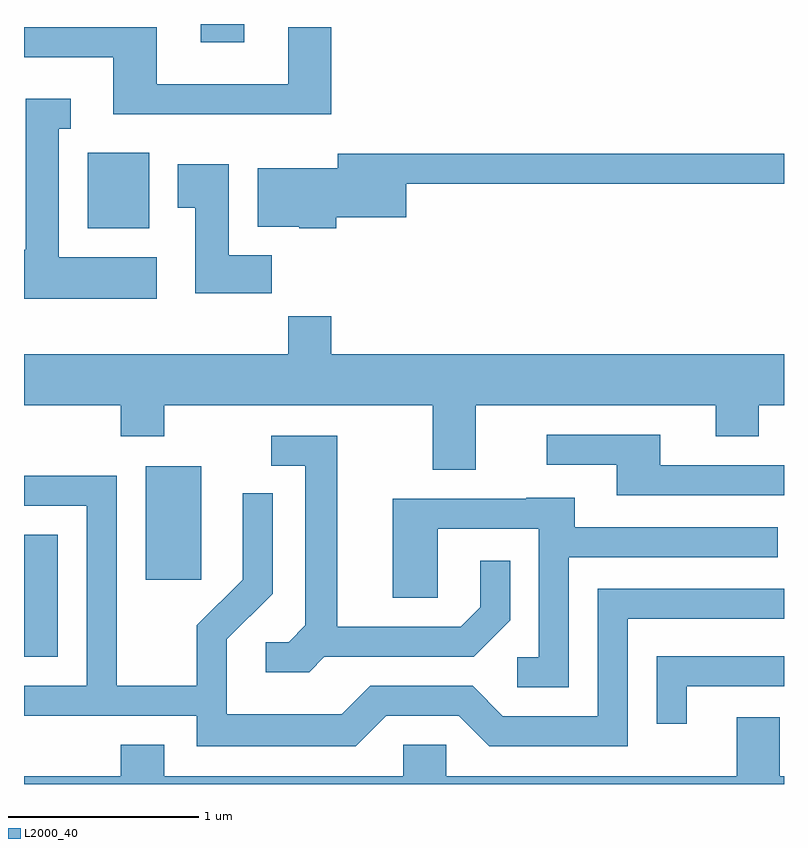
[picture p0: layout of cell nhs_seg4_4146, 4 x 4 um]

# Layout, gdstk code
import gdstk
lib = gdstk.Library(unit=1e-6, precision=1e-09)
def R(c, l, rs):  # rectangles x0, y0, x1, y1
    for r in rs: c.add(gdstk.rectangle(r[:2], r[2:], *l))
def P(c, l, *ps):  # polygons
    for p in ps: c.add(gdstk.Polygon(p, *l))
L2000_40 = (2000, 40)

nhs_seg4_4146 = lib.new_cell('nhs_seg4_4146')
R(nhs_seg4_4146, L2000_40, [(305.611,1386.651,305.789,1387.294), (306.251,1387.056,306.544,1387.654), (305.946,1388.906,306.269,1389.304), (306.541,1389.886,306.769,1389.982)])
P(nhs_seg4_4146, L2000_40, [(307.229,1389.964),(307.001,1389.964),(307.001,1389.664),(306.309,1389.664),(306.309,1389.964),(305.611,1389.964),(305.611,1389.806),(306.081,1389.806),(306.081,1389.506),(307.229,1389.506)],
  [(306.309,1388.754),(305.794,1388.754),(305.794,1389.431),(305.858,1389.431),(305.858,1389.589),(305.621,1389.589),(305.621,1388.794),(305.611,1388.794),(305.611,1388.536),(306.309,1388.536)],
  [(307.254,1388.966),(307.624,1388.966),(307.624,1389.141),(309.611,1389.141),(309.611,1389.299),(307.261,1389.299),(307.261,1389.224),(306.841,1389.224),(306.841,1388.916),(307.06,1388.916),(307.06,1388.906),(307.254,1388.906)],
  [(306.914,1388.764),(306.689,1388.764),(306.689,1389.244),(306.421,1389.244),(306.421,1389.016),(306.511,1389.016),(306.511,1388.566),(306.914,1388.566)],
  [(307.989,1387.976),(309.251,1387.976),(309.251,1387.811),(309.479,1387.811),(309.479,1387.976),(309.611,1387.976),(309.611,1388.244),(307.229,1388.244),(307.229,1388.444),(307.001,1388.444),(307.001,1388.244),(305.611,1388.244),(305.611,1387.976),(306.121,1387.976),(306.121,1387.811),(306.349,1387.811),(306.349,1387.976),(307.761,1387.976),(307.761,1387.636),(307.989,1387.636)],
  [(309.611,1387.659),(308.959,1387.659),(308.959,1387.819),(308.363,1387.819),(308.363,1387.661),(308.731,1387.661),(308.731,1387.501),(309.611,1387.501)],
  [(307.192,1386.651),(307.977,1386.651),(308.169,1386.844),(308.169,1387.158),(308.011,1387.158),(308.011,1386.912),(307.909,1386.809),(307.259,1386.809),(307.259,1387.814),(306.913,1387.814),(306.913,1387.656),(307.091,1387.656),(307.091,1386.817),(307.004,1386.729),(306.883,1386.729),(306.883,1386.571),(307.112,1386.571)],
  [(307.517,1386.341),(307.899,1386.341),(308.059,1386.181),(308.789,1386.181),(308.789,1386.851),(309.611,1386.851),(309.611,1387.009),(308.631,1387.009),(308.631,1386.339),(308.132,1386.339),(307.972,1386.499),(307.434,1386.499),(307.284,1386.349),(306.679,1386.349),(306.679,1386.744),(306.919,1386.984),(306.919,1387.513),(306.761,1387.513),(306.761,1387.057),(306.521,1386.817),(306.521,1386.499),(306.099,1386.499),(306.099,1387.604),(305.611,1387.604),(305.611,1387.446),(305.941,1387.446),(305.941,1386.499),(305.611,1386.499),(305.611,1386.341),(306.521,1386.341),(306.521,1386.181),(307.357,1386.181)],
  [(308.479,1387.176),(309.578,1387.176),(309.578,1387.334),(308.509,1387.334),(308.509,1387.489),(308.255,1387.489),(308.255,1387.484),(307.551,1387.484),(307.551,1386.961),(307.789,1386.961),(307.789,1387.326),(308.321,1387.326),(308.321,1386.649),(308.208,1386.649),(308.208,1386.491),(308.479,1386.491)],
  [(309.099,1386.496),(309.611,1386.496),(309.611,1386.654),(308.941,1386.654),(308.941,1386.298),(309.099,1386.298)],
  [(309.611,1386.024),(309.589,1386.024),(309.589,1386.334),(309.361,1386.334),(309.361,1386.024),(307.834,1386.024),(307.834,1386.189),(307.606,1386.189),(307.606,1386.024),(306.349,1386.024),(306.349,1386.189),(306.121,1386.189),(306.121,1386.024),(305.611,1386.024),(305.611,1385.982),(309.611,1385.982)])

lib.write_gds('nhs_seg4_4146.gds')
